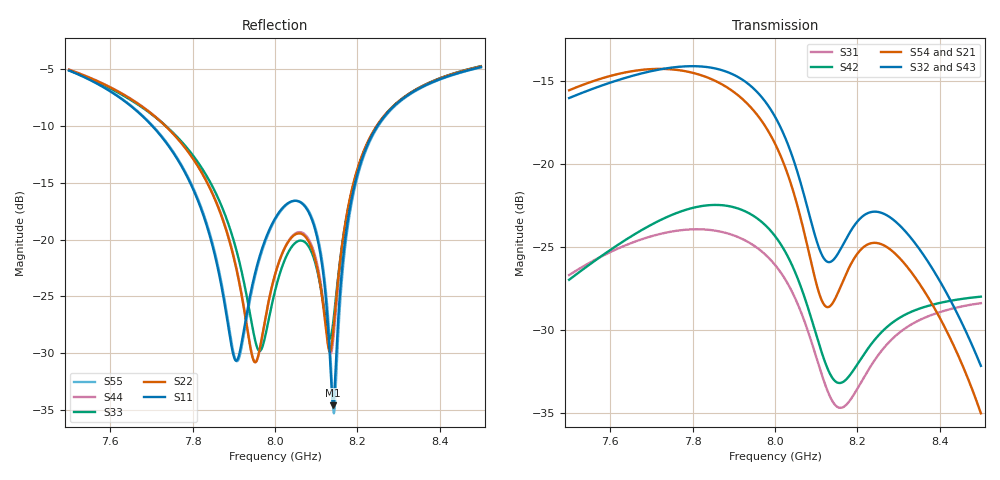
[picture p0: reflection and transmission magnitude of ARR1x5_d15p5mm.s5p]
! Touchstone file exported from HFSS 2025.1.0
!  File:  C:/Users/user/Documents/Ansoft/TFG_UWB-MIMO-Array.aedt
!  Generated:  09:03:13 PM Nov 21, 2026
!  Design:  ARR1x5_US3_PS4_2_1_dparam
!  Project:  TFG_UWB-MIMO-Array
!  Setup:  Setup_ch9
!  Solution:  Sweep_7p5_8p5
! Variables:
!  arr_d = 15.5mm
!  board_m = 13mm
!  board_x = 88mm
!  board_y = 26mm
!  cu_t = 0.035mm
!  line_w = 3.92mm
!  pad_xy = 22mm
!  pad_zn = 25mm
!  pad_zp = 33mm
!  par_L = 7.46mm
!  par_W = 10mm
!  par_yc = 0.75mm
!  par_z = 1.035mm
!  patch_L = 6.222mm
!  patch_W = 11.421266mm
!  sub_h = 2.07mm
!  tr_l = 6.6mm
!  tr_w = 0.8mm
!  u_Lu = 2.65mm
!  u_Wu = 4.4mm
!  u_t = 0.8mm
!  u_y0 = -0.7mm
# GHz S MA R 50.000000
! Terminal data exported
! Port[1] = P1
! Port[2] = P2
! Port[3] = P3
! Port[4] = P4
! Port[5] = P5
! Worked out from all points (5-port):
!   1001 points, 7.5 GHz to 8.5 GHz, reference 50 ohm
!   strongest paths, dB at 7.5 GHz, 7.75 GHz, 8 GHz, 8.25 GHz, 8.5 GHz:
!     S32: -16.0, -14.2, -17.1, -22.9, -32.2
!     S43: -16.0, -14.2, -17.2, -23.0, -32.4
!     S54: -15.6, -14.3, -18.8, -24.8, -35.0
!     S21: -15.5, -14.3, -18.8, -24.7, -35.1
!     S42: -27.0, -23.1, -24.3, -30.4, -28.0
!     S31: -26.7, -24.1, -26.1, -31.5, -28.4
!   lowest |S11| = -34.6 dB at 8.141 GHz (marker M1), VSWR 1.04, Z = 51.3 + j1.38 ohm
!   |S11| at or under -10 dB: 7.702 GHz to 8.249 GHz (547.4 MHz wide, 6.86 % of centre)
